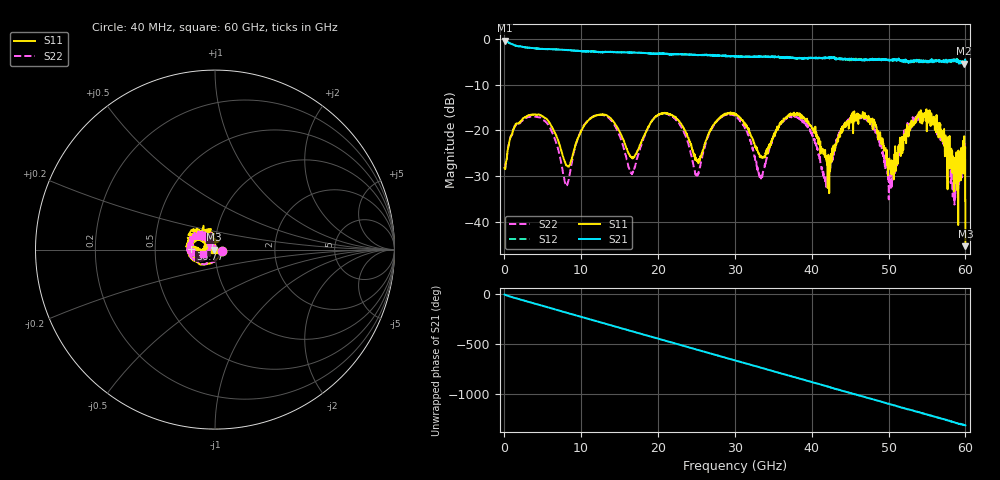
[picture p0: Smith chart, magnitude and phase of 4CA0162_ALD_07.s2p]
! File created by 'SoftPlot +Plus+ Measurement Management Software'
! SoftPlot +Plus+ Measurement Management Software
! Start 40.000000 MHz  Stop 60.000000 GHz  Points 1601
# MHZ S RI R 50
! S-Parameter data, F S11 S21 S12 S22
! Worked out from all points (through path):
!   1601 points, 40 MHz to 60 GHz, reference 50 ohm
!   highest |S21| = -0.36 dB at 40 MHz (marker M1); lowest = -5.4 dB at 59.85 GHz (marker M2)
!   group delay of S21, straight-line fit = 60.8 ps
!   lowest |S11| = -45.3 dB at 60 GHz (marker M3), VSWR 1.01, Z = 49.5 - j0.12 ohm
!   |S11| at or under -10 dB: start of sweep to end of sweep
!   |S22| runs from -36.2 to -16.1 dB; largest |S21 - S12| = 0.063
!   S11 on the Smith chart (normalised r, x): 40 MHz: 1.08, -0.02; 36.77 GHz: 0.76, +0.01; 60 GHz: 0.99, -0.00
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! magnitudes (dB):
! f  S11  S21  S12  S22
! 40 MHz  -28.2  -0.4  -0.4  -28.1
! 1.427 GHz  -18.9  -1.5  -1.5  -18.9
! 4.462 GHz  -16.5  -2.2  -2.2  -17.1
! 8.135 GHz  -27.7  -2.4  -2.4  -31.9
! 10.05 GHz  -20.0  -2.7  -2.7  -19.9
! 13.53 GHz  -16.9  -2.9  -2.9  -17.2
! 16.6 GHz  -25.9  -3.0  -3.0  -29.6
! 20.05 GHz  -16.6  -3.3  -3.2  -16.6
! 25.07 GHz  -26.7  -3.5  -3.6  -29.9
! 27.32 GHz  -18.6  -3.6  -3.6  -18.6
! 30.02 GHz  -16.3  -3.8  -3.7  -16.9
! 33.39 GHz  -25.5  -3.9  -3.9  -30.5
! 36.77 GHz  -17.3  -4.1  -3.9  -17.3
! 40.03 GHz  -19.3  -4.2  -4.2  -20.5
! 41.86 GHz  -26.3  -4.1  -4.2  -32.0
! 44.19 GHz  -19.4  -4.4  -4.4  -19.1
! 46.88 GHz  -16.4  -4.6  -4.8  -17.3
! 50.03 GHz  -26.4  -4.6  -4.6  -35.0
! 55.32 GHz  -15.6  -4.9  -5.0  -17.3
! 58.58 GHz  -30.8  -4.8  -4.5  -36.2
! 59.85 GHz  -21.2  -5.4  -5.2  -23.2
! 60 GHz  -45.3  -4.7  -4.8  -23.3
